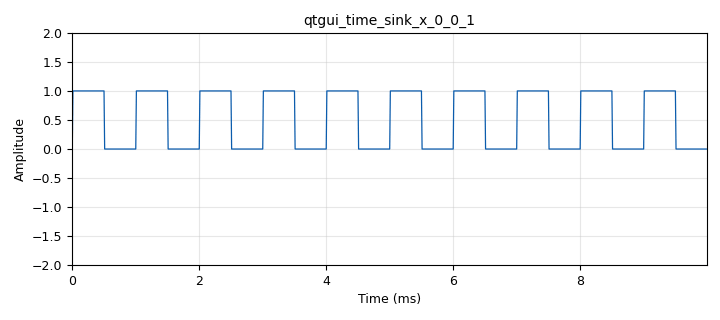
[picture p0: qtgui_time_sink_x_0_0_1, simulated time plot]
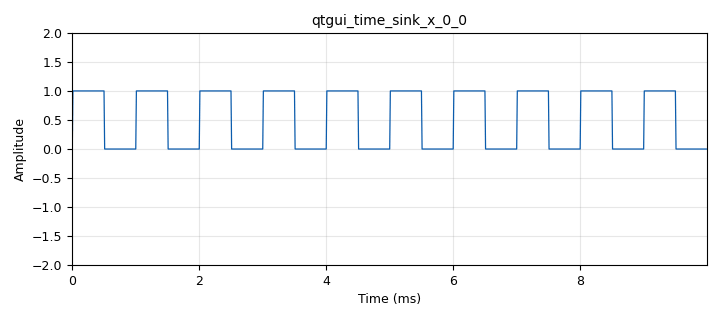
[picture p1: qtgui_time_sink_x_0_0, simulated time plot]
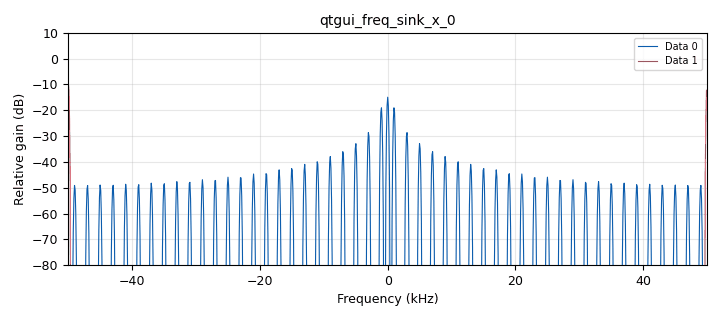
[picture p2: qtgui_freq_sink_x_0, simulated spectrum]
<?xml version='1.0' encoding='utf-8'?>
<flow_graph>
<block>
<key>options</key>
<param><key>id</key><value>top_block</value></param>
<param><key>generate_options</key><value>qt_gui</value></param>
<param><key>category</key><value>Custom</value></param>
</block>
<block>
<key>variable</key>
<param><key>id</key><value>samp_rate</value></param>
<param><key>value</key><value>100e3</value></param>
</block>
<block>
<key>qtgui_time_sink_x</key>
<param><key>id</key><value>qtgui_time_sink_x_0_0_1</value></param>
<param><key>type</key><value>float</value></param>
<param><key>size</key><value>1000</value></param>
<param><key>srate</key><value>samp_rate</value></param>
<param><key>ymin</key><value>-2</value></param>
<param><key>ymax</key><value>2</value></param>
<param><key>gui_hint</key><value>tab@0</value></param>
<param><key>tr_mode</key><value>qtgui.TRIG_MODE_NORM</value></param>
<param><key>tr_level</key><value>0.5</value></param>
<param><key>label1</key><value></value></param>
<param><key>color1</key><value>"blue"</value></param>
</block>
<block>
<key>qtgui_time_sink_x</key>
<param><key>id</key><value>qtgui_time_sink_x_0_0</value></param>
<param><key>type</key><value>float</value></param>
<param><key>size</key><value>1000</value></param>
<param><key>srate</key><value>samp_rate</value></param>
<param><key>ymin</key><value>-2</value></param>
<param><key>ymax</key><value>2</value></param>
<param><key>tr_mode</key><value>qtgui.TRIG_MODE_NORM</value></param>
<param><key>tr_level</key><value>0.5</value></param>
<param><key>label1</key><value></value></param>
<param><key>color1</key><value>"blue"</value></param>
</block>
<block>
<key>low_pass_filter</key>
<param><key>id</key><value>low_pass_filter_0</value></param>
<param><key>type</key><value>fir_filter_fff</value></param>
<param><key>decim</key><value>1</value></param>
<param><key>gain</key><value>1</value></param>
<param><key>samp_rate</key><value>samp_rate</value></param>
<param><key>cutoff_freq</key><value>lpf_cutoff</value></param>
<param><key>width</key><value>10e3</value></param>
<param><key>win</key><value>firdes.WIN_HAMMING</value></param>
</block>
<block>
<key>variable_qtgui_range</key>
<param><key>id</key><value>lpf_cutoff</value></param>
<param><key>label</key><value>LPF Bandwidth</value></param>
<param><key>value</key><value>samp_rate/2</value></param>
<param><key>start</key><value>1000</value></param>
<param><key>stop</key><value>samp_rate/2</value></param>
<param><key>step</key><value>samp_rate/100</value></param>
<param><key>orient</key><value>Qt.Horizontal</value></param>
<param><key>gui_hint</key><value>0,0,0,0</value></param>
</block>
<block>
<key>qtgui_tab_widget</key>
<param><key>id</key><value>tab</value></param>
<param><key>num_tabs</key><value>2</value></param>
<param><key>label0</key><value>Input Signal</value></param>
<param><key>label1</key><value>Frequency Domain</value></param>
</block>
<block>
<key>qtgui_freq_sink_x</key>
<param><key>id</key><value>qtgui_freq_sink_x_0</value></param>
<param><key>type</key><value>float</value></param>
<param><key>fftsize</key><value>1024</value></param>
<param><key>wintype</key><value>firdes.WIN_BLACKMAN_hARRIS</value></param>
<param><key>fc</key><value>0</value></param>
<param><key>bw</key><value>samp_rate</value></param>
<param><key>ymin</key><value>-80</value></param>
<param><key>nconnections</key><value>2</value></param>
<param><key>gui_hint</key><value>tab@1</value></param>
<param><key>label2</key><value></value></param>
</block>
<block>
<key>analog_sig_source_x</key>
<param><key>id</key><value>analog_sig_source_x_0_1_0</value></param>
<param><key>type</key><value>float</value></param>
<param><key>samp_rate</key><value>samp_rate</value></param>
<param><key>waveform</key><value>analog.GR_COS_WAVE</value></param>
<param><key>freq</key><value>lpf_cutoff</value></param>
<param><key>amp</key><value>1</value></param>
<param><key>offset</key><value>0</value></param>
</block>
<block>
<key>analog_sig_source_x</key>
<param><key>id</key><value>analog_sig_source_x_0_1</value></param>
<param><key>type</key><value>float</value></param>
<param><key>samp_rate</key><value>samp_rate</value></param>
<param><key>waveform</key><value>analog.GR_SQR_WAVE</value></param>
<param><key>freq</key><value>1000</value></param>
<param><key>amp</key><value>1</value></param>
<param><key>offset</key><value>0</value></param>
</block>
<connection><source_block_id>low_pass_filter_0</source_block_id><sink_block_id>qtgui_time_sink_x_0_0</sink_block_id><source_key>0</source_key><sink_key>0</sink_key></connection>
<connection><source_block_id>analog_sig_source_x_0_1</source_block_id><sink_block_id>qtgui_time_sink_x_0_0_1</sink_block_id><source_key>0</source_key><sink_key>0</sink_key></connection>
<connection><source_block_id>analog_sig_source_x_0_1</source_block_id><sink_block_id>low_pass_filter_0</sink_block_id><source_key>0</source_key><sink_key>0</sink_key></connection>
<connection><source_block_id>analog_sig_source_x_0_1_0</source_block_id><sink_block_id>qtgui_freq_sink_x_0</sink_block_id><source_key>0</source_key><sink_key>1</sink_key></connection>
<connection><source_block_id>low_pass_filter_0</source_block_id><sink_block_id>qtgui_freq_sink_x_0</sink_block_id><source_key>0</source_key><sink_key>0</sink_key></connection>
</flow_graph>
